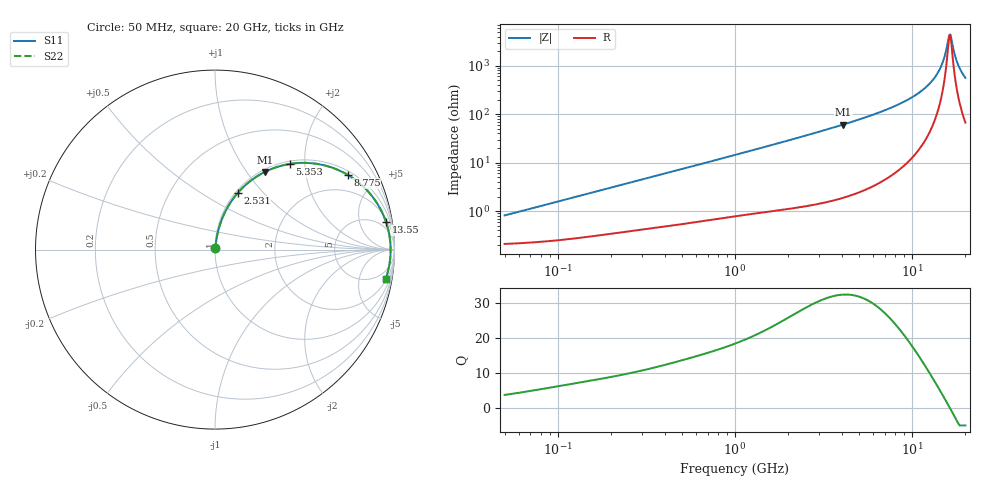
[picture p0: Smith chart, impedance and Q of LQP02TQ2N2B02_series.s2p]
!Murata Part Number: LQP02TQ2N2B02
!These Parameters are Measured in Series Mode Connection
!  o--[Z]--o
!Port1  Port2
!  o-------o
!Freq. Start=50[MHz] Stop=20[GHz], 401[Steps]
# Hz S RI R 50
!Freq.(Hz) S11(Real) S11(Imag) S21(Real) S21(Imag) S12(Real) S12(Imag) S22(Real) S22(Imag)
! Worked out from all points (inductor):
!   401 points, 50 MHz to 20 GHz, reference 50 ohm
!   read as one part in series: L = 2.5 nH near 51.52 MHz
!   highest Q = 32.5 at 4.088 GHz (marker M1), where L = 2.38 nH
!   self-resonance near 16.22 GHz
!   S11 on the Smith chart (normalised r, x): 50 MHz: 1.00, +0.02; 2.531 GHz: 1.03, +0.73; 5.353 GHz: 1.05, +1.68; 8.775 GHz: 1.16, +3.45; 13.55 GHz: 3, +12; 20 GHz: 2, -11
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5e7  0.00216 0.00784  0.9978 -0.00784  0.9978 -0.00784  0.00216 0.00784
1.364002e8  0.00327 0.0209  0.9967 -0.0209  0.9967 -0.0209  0.00327 0.0209
3.721004e8  0.00759 0.0544  0.9924 -0.0544  0.9924 -0.0544  0.00759 0.0544
1e9  0.0276 0.1389  0.9724 -0.1389  0.9724 -0.1389  0.0276 0.1389
2.531158e9  0.1261 0.3151  0.8739 -0.3151  0.8739 -0.3151  0.1261 0.3151
2.728004e9  0.1432 0.3338  0.8568 -0.3338  0.8568 -0.3338  0.1432 0.3338
4.087748e9  0.2785 0.4331  0.7215 -0.4331  0.7215 -0.4331  0.2785 0.4331
5.352748e9  0.4165 0.4773  0.5835 -0.4773  0.5835 -0.4773  0.4165 0.4773
7.442007e9  0.6286 0.4643  0.3714 -0.4643  0.3714 -0.4643  0.6286 0.4643
8.774992e9  0.7388 0.4168  0.2612 -0.4168  0.2612 -0.4168  0.7388 0.4168
1.131968e10  0.8854 0.284  0.1146 -0.284  0.1146 -0.284  0.8854 0.284
1.257102e10  0.9293 0.211  0.0707 -0.211  0.0707 -0.211  0.9293 0.211
1.354865e10  0.9528 0.154  0.0472 -0.154  0.0472 -0.154  0.9528 0.154
1.460232e10  0.9689 0.0939  0.0311 -0.0939  0.0311 -0.0939  0.9689 0.0939
1.527346e10  0.9749 0.057  0.0251 -0.057  0.0251 -0.057  0.9749 0.057
1.597544e10  0.978 0.0196  0.022 -0.0196  0.022 -0.0196  0.978 0.0196
1.646126e10  0.9785 -0.00547  0.0215 0.00547  0.0215 0.00547  0.9785 -0.00547
1.670968e10  0.9783 -0.018  0.0217 0.018  0.0217 0.018  0.9783 -0.018
1.747767e10  0.9756 -0.0555  0.0244 0.0555  0.0244 0.0555  0.9756 -0.0555
1.828096e10  0.9701 -0.0926  0.0299 0.0926  0.0299 0.0926  0.9701 -0.0926
1.912117e10  0.9617 -0.1291  0.0383 0.1291  0.0383 0.1291  0.9617 -0.1291
2e10  0.9506 -0.1647  0.0494 0.1647  0.0494 0.1647  0.9506 -0.1647
